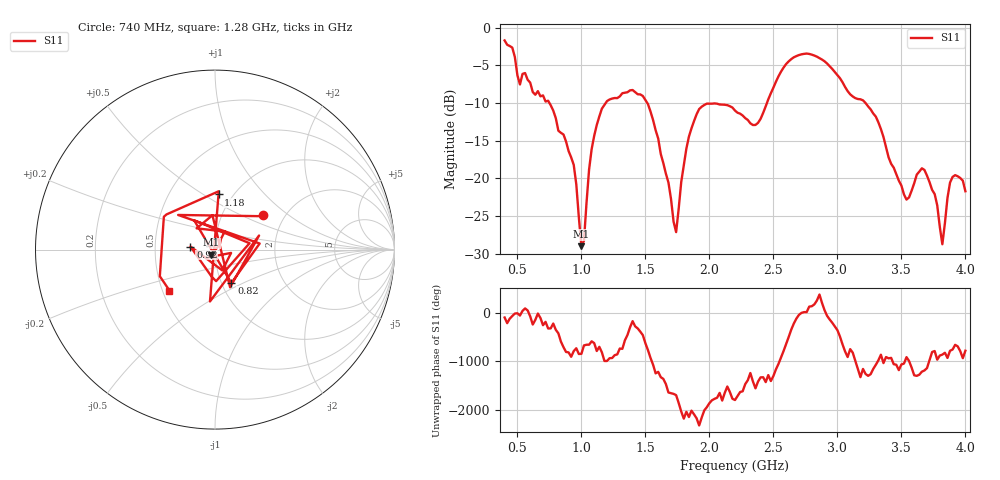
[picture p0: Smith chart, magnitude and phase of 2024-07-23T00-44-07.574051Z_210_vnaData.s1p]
!Created with skrf (http://scikit-rf.org).
# Hz S RI R 50.0
!freq ReS11 ImS11
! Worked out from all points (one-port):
!   181 points, 400 MHz to 4 GHz, reference 50 ohm
!   lowest |S11| = -29.0 dB at 1 GHz (marker M1), VSWR 1.07, Z = 47.9 - j2.75 ohm
!   |S11| at or under -10 dB: 750.4 MHz to 1.189 GHz (439.1 MHz wide, 45.3 % of centre); 1.515 GHz to 2.449 GHz (934.3 MHz wide, 47.1 % of centre); 3.22 GHz to end of sweep
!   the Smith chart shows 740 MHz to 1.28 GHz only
!   S11 on the Smith chart (normalised r, x): 740 MHz: 1.55, +0.66; 820 MHz: 1.11, -0.43; 920 MHz: 0.76, +0.03; 1.18 GHz: 0.86, +0.58; 1.28 GHz: 0.54, -0.28
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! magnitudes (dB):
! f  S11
! 400 MHz  -1.7
! 520 MHz  -7.5
! 740 MHz  -9.7
! 820 MHz  -13.7
! 860 MHz  -14.2
! 920 MHz  -17.2
! 1 GHz  -29.0
! 1.02 GHz  -28.3
! 1.08 GHz  -16.1
! 1.18 GHz  -10.2
! 1.28 GHz  -9.3
! 1.3 GHz  -9.1
! 1.52 GHz  -10.1
! 1.74 GHz  -27.1
! 1.76 GHz  -24.0
! 1.82 GHz  -16.0
! 1.92 GHz  -10.8
! 2.2 GHz  -11.0
! 2.38 GHz  -12.6
! 2.66 GHz  -3.9
! 3.1 GHz  -8.8
! 3.3 GHz  -11.8
! 3.56 GHz  -22.5
! 3.68 GHz  -18.9
! 3.76 GHz  -22.1
! 3.82 GHz  -28.7
! 3.88 GHz  -20.5
! 4 GHz  -21.7
